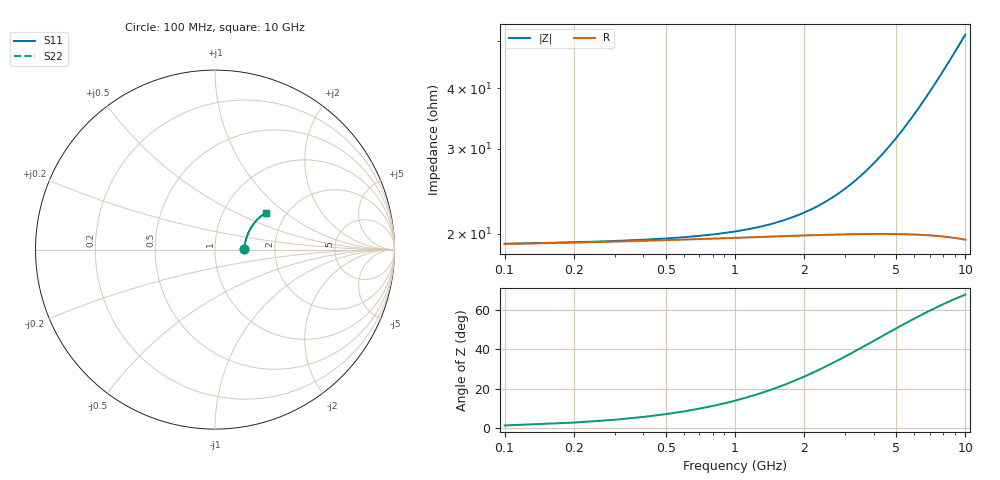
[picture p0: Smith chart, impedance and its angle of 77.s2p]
# Hz S RI R 50.00
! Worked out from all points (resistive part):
!   100 points, 100 MHz to 10 GHz, reference 50 ohm
!   read as one part in series: R = 19.1 ohm at 100 MHz
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1e8  0.1601 0.00262  0.8399 -0.00426  0.8399 -0.00426  0.1601 0.00262
2e8  0.1611 0.00523  0.8389 -0.0085  0.8389 -0.0085  0.1611 0.00523
8e8  0.1645 0.0207  0.8354 -0.0338  0.8354 -0.0338  0.1645 0.0207
1.1e9  0.166 0.0284  0.8338 -0.0464  0.8338 -0.0464  0.166 0.0284
1.4e9  0.1676 0.036  0.8321 -0.0589  0.8321 -0.0589  0.1676 0.036
1.8e9  0.1699 0.0461  0.8296 -0.0755  0.8296 -0.0755  0.1699 0.0461
2.1e9  0.1719 0.0535  0.8274 -0.0879  0.8274 -0.0879  0.1719 0.0535
2.5e9  0.1748 0.0634  0.8243 -0.1043  0.8243 -0.1043  0.1748 0.0634
2.9e9  0.178 0.0731  0.8207 -0.1206  0.8207 -0.1206  0.178 0.0731
3.4e9  0.1825 0.085  0.8158 -0.1407  0.8158 -0.1407  0.1825 0.085
4.2e9  0.1908 0.1035  0.8066 -0.1723  0.8066 -0.1723  0.1908 0.1035
4.6e9  0.1955 0.1124  0.8014 -0.1878  0.8014 -0.1878  0.1955 0.1124
5.1e9  0.2018 0.1233  0.7944 -0.2069  0.7944 -0.2069  0.2018 0.1233
5.9e9  0.2128 0.1399  0.7821 -0.2366  0.7821 -0.2366  0.2128 0.1399
6.7e9  0.225 0.1554  0.7685 -0.2653  0.7685 -0.2653  0.225 0.1554
7.2e9  0.2331 0.1645  0.7593 -0.2827  0.7593 -0.2827  0.2331 0.1645
7.6e9  0.2399 0.1715  0.7516 -0.2962  0.7516 -0.2962  0.2399 0.1715
8e9  0.2469 0.1781  0.7437 -0.3095  0.7437 -0.3095  0.2469 0.1781
8.4e9  0.2541 0.1845  0.7355 -0.3225  0.7355 -0.3225  0.2541 0.1845
8.8e9  0.2615 0.1905  0.7271 -0.3352  0.7271 -0.3352  0.2615 0.1905
9.2e9  0.2691 0.1962  0.7184 -0.3475  0.7184 -0.3475  0.2691 0.1962
1e10  0.2848 0.2066  0.7004 -0.3712  0.7004 -0.3712  0.2848 0.2066
